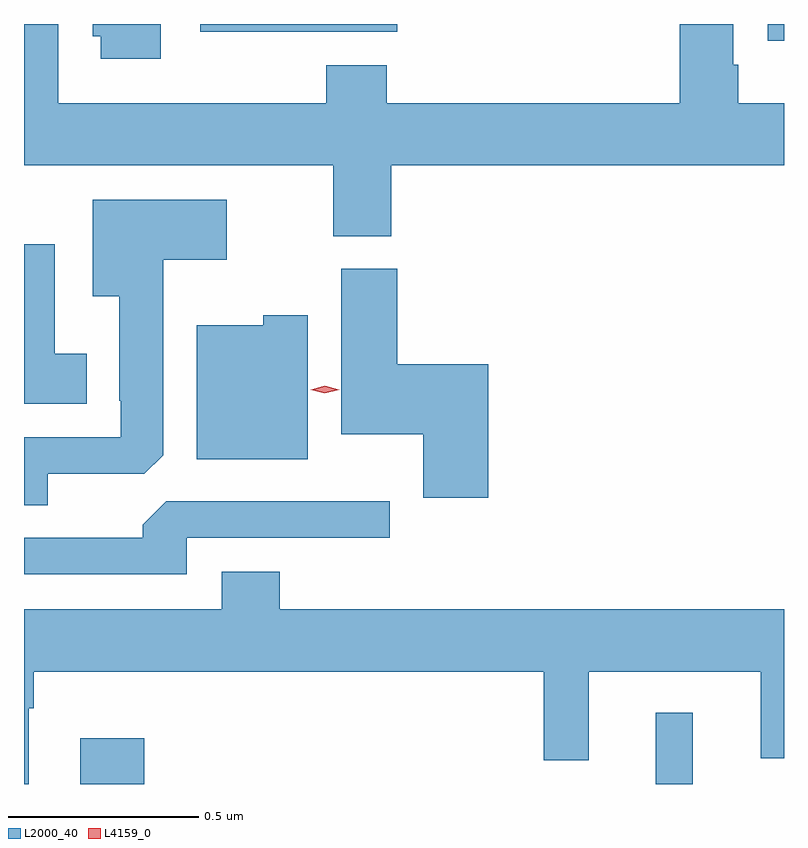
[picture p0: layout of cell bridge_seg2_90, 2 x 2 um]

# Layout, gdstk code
import gdstk
lib = gdstk.Library(unit=1e-6, precision=1e-09)
def R(c, l, rs):  # rectangles x0, y0, x1, y1
    for r in rs: c.add(gdstk.rectangle(r[:2], r[2:], *l))
def P(c, l, *ps):  # polygons
    for p in ps: c.add(gdstk.Polygon(p, *l))
L2000_40 = (2000, 40)
L4159_0 = (4159, 0)

bridge_seg2_90 = lib.new_cell('bridge_seg2_90')
R(bridge_seg2_90, L2000_40, [(324.281,643.344,324.449,643.465), (325.796,643.344,325.893,643.531), (326.09,645.3,326.133,645.344), (324.597,645.323,325.115,645.344)])
P(bridge_seg2_90, L2000_40, [(324.493,645.344),(324.314,645.344),(324.314,645.312),(324.335,645.312),(324.335,645.252),(324.493,645.252)],
  [(325.859,645.344),(325.859,645.136),(325.088,645.136),(325.088,645.235),(324.928,645.235),(324.928,645.136),(324.223,645.136),(324.223,645.344),(324.133,645.344),(324.133,644.972),(324.947,644.972),(324.947,644.785),(325.1,644.785),(325.1,644.972),(326.133,644.972),(326.133,645.136),(326.012,645.136),(326.012,645.237),(325.999,645.237),(325.999,645.344)],
  [(324.196,644.16),(324.45,644.16),(324.499,644.209),(324.499,644.723),(324.667,644.723),(324.667,644.881),(324.314,644.881),(324.314,644.627),(324.383,644.627),(324.383,644.353),(324.387,644.353),(324.387,644.256),(324.133,644.256),(324.133,644.077),(324.196,644.077)],
  [(324.298,644.476),(324.214,644.476),(324.214,644.764),(324.133,644.764),(324.133,644.345),(324.298,644.345)],
  [(325.355,644.449),(325.115,644.449),(325.115,644.7),(324.968,644.7),(324.968,644.264),(325.184,644.264),(325.184,644.097),(325.355,644.097)],
  [(324.88,644.578),(324.762,644.578),(324.762,644.551),(324.587,644.551),(324.587,644.198),(324.88,644.198)],
  [(324.561,643.992),(325.096,643.992),(325.096,644.088),(324.507,644.088),(324.446,644.026),(324.446,643.992),(324.133,643.992),(324.133,643.896),(324.561,643.896)],
  [(324.145,643.544),(324.158,643.544),(324.158,643.64),(325.501,643.64),(325.501,643.407),(325.619,643.407),(325.619,643.64),(326.072,643.64),(326.072,643.412),(326.133,643.412),(326.133,643.804),(324.806,643.804),(324.806,643.903),(324.653,643.903),(324.653,643.804),(324.133,643.804),(324.133,643.344),(324.145,643.344)])
P(bridge_seg2_90, L4159_0, [(324.925,644.372),(324.887,644.382),(324.887,644.382),(324.887,644.382),(324.925,644.392),(324.963,644.382),(324.963,644.382),(324.963,644.382)])

lib.write_gds('bridge_seg2_90.gds')
